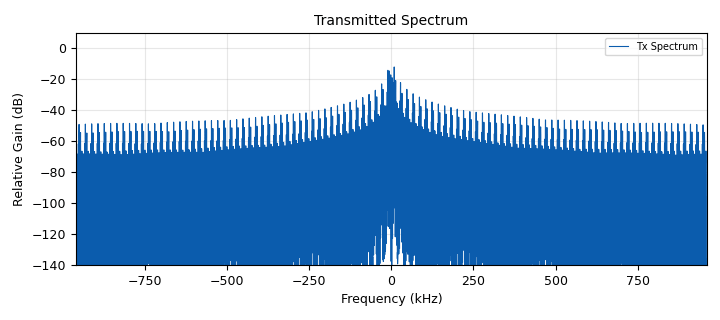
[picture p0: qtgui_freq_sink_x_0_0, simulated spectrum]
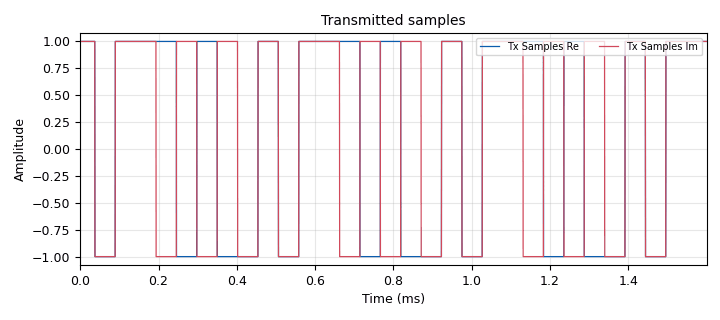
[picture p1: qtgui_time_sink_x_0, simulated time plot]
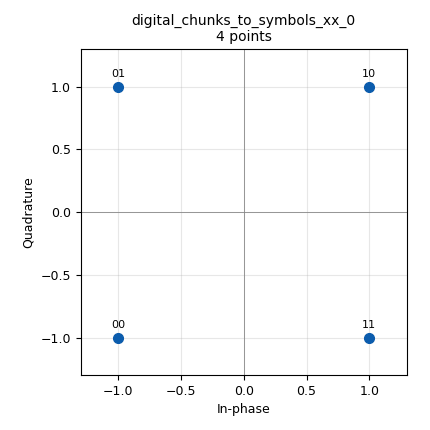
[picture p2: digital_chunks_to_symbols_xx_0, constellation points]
options:
  parameters:
    generate_options: qt_gui
    id: QPSK_raw_loopback_jupiter
    output_language: python
    title: Not titled yet
  states: {}

blocks:
- name: buff_size
  id: variable
  parameters:
    value: int(32768)
  states: {}
- name: gain_control_mode_rx0
  id: variable
  parameters:
    value: '''spi'''
  states: {}
- name: hardwaregain_rx0
  id: variable_qtgui_range
  parameters:
    label: Rx Gain [dBfs]
    start: '0'
    step: '1'
    stop: '34'
    value: '20'
  states: {}
- name: hardwaregain_tx0
  id: variable_qtgui_range
  parameters:
    label: Tx Attenuation [dBfs]
    start: '-41'
    step: '1'
    stop: '0'
    value: '0'
  states: {}
- name: interval_update
  id: variable
  parameters:
    value: int(0)
  states: {}
- name: jupiter_ip
  id: variable_config
  parameters:
    config_file: default
    option: key
    section: main
    type: string
    value: ip:jupiter.local
    writeback: None
  states: {}
- name: lo_tx_offset
  id: variable
  parameters:
    value: int(0)
  states: {}
- name: offset_rx
  id: variable_qtgui_range
  parameters:
    gui_hint: (2,0,1,2)
    start: '-1000000'
    step: '1'
    stop: '1000000'
    value: '-250000'
  states: {}
- name: offset_tx
  id: variable
  parameters:
    value: '250000'
  states: {}
- name: rx_lo_freq
  id: variable
  parameters:
    value: int(2200000000)
  states: {}
- name: samp_rate
  id: variable
  parameters:
    value: '1920000'
  states: {}
- name: sps
  id: variable
  parameters:
    value: '100'
  states: {}
- name: tx_lo_freq
  id: variable
  parameters:
    value: int(2200000000 + lo_tx_offset)
  states: {}
- name: analog_sig_source_x_0
  id: analog_sig_source_x
  parameters:
    amp: '1'
    freq: offset_tx
    offset: '0'
    phase: '0'
    samp_rate: samp_rate
    type: complex
    waveform: analog.GR_COS_WAVE
  states: {}
- name: analog_sig_source_x_0_0
  id: analog_sig_source_x
  parameters:
    amp: '1'
    freq: offset_rx
    offset: '0'
    phase: '0'
    samp_rate: samp_rate
    type: complex
    waveform: analog.GR_COS_WAVE
  states: {}
- name: blocks_complex_to_imag_0_4_0
  id: blocks_complex_to_imag
  parameters: {}
  states: {}
- name: blocks_complex_to_real_0_4_0
  id: blocks_complex_to_real
  parameters: {}
  states: {}
- name: blocks_float_to_complex_0
  id: blocks_float_to_complex
  parameters: {}
  states: {}
- name: blocks_float_to_short_0_0_4_0
  id: blocks_float_to_short
  parameters:
    scale: '32767'
  states: {}
- name: blocks_float_to_short_0_5_0
  id: blocks_float_to_short
  parameters:
    scale: '32767'
  states: {}
- name: blocks_multiply_xx_0
  id: blocks_multiply_xx
  parameters:
    type: complex
  states: {}
- name: blocks_multiply_xx_0_0
  id: blocks_multiply_xx
  parameters:
    type: complex
  states: {}
- name: blocks_repeat_0
  id: blocks_repeat
  parameters:
    interp: sps
    type: complex
  states: {}
- name: blocks_short_to_float_0
  id: blocks_short_to_float
  parameters:
    scale: '32767'
  states: {}
- name: blocks_short_to_float_0_1
  id: blocks_short_to_float
  parameters:
    scale: '32767'
  states: {}
- name: blocks_vector_source_x_0
  id: blocks_vector_source_x
  parameters:
    repeat: 'True'
    type: byte
    vector: (2,2,3,1,3,1,0,2,0)
  states: {}
- name: digital_chunks_to_symbols_xx_0
  id: digital_chunks_to_symbols_xx
  parameters:
    dimension: '1'
    in_type: byte
    out_type: complex
    symbol_table: (-1 -1j,-1+1j, +1+1j,+1-1j)
  states: {}
- name: iio_attr_sink_0
  id: iio_attr_sink
  parameters:
    attr_type: '0'
    channel: voltage0
    device: adrv9002-phy
    output: 'False'
    uri: jupiter_ip
  states: {}
- name: iio_attr_sink_0_0
  id: iio_attr_sink
  parameters:
    attr_type: '0'
    channel: voltage1
    device: adrv9002-phy
    output: 'False'
    uri: jupiter_ip
  states: {}
- name: iio_attr_sink_0_0_0
  id: iio_attr_sink
  parameters:
    attr_type: '0'
    channel: voltage1
    device: adrv9002-phy
    output: 'True'
    uri: jupiter_ip
  states: {}
- name: iio_attr_sink_0_1
  id: iio_attr_sink
  parameters:
    attr_type: '0'
    channel: voltage0
    device: adrv9002-phy
    output: 'True'
    uri: jupiter_ip
  states: {}
- name: iio_attr_sink_0_1_0
  id: iio_attr_sink
  parameters:
    attr_type: '0'
    channel: altvoltage0
    device: adrv9002-phy
    output: 'True'
    uri: jupiter_ip
  states: {}
- name: iio_attr_sink_0_1_0_0
  id: iio_attr_sink
  parameters:
    attr_type: '0'
    channel: altvoltage2
    device: adrv9002-phy
    output: 'True'
    uri: jupiter_ip
  states: {}
- name: iio_attr_sink_0_1_0_1
  id: iio_attr_sink
  parameters:
    attr_type: '0'
    channel: voltage0
    device: adrv9002-phy
    output: 'False'
    uri: jupiter_ip
  states: {}
- name: iio_attr_updater_0
  id: iio_attr_updater
  parameters:
    attr: hardwaregain
    interval: interval_update
    value: str(hardwaregain_rx0)
  states: {}
- name: iio_attr_updater_0_0
  id: iio_attr_updater
  parameters:
    attr: hardwaregain
    interval: interval_update
    value: str(0)
  states: {}
- name: iio_attr_updater_0_0_0
  id: iio_attr_updater
  parameters:
    attr: hardwaregain
    interval: interval_update
    value: str(-40)
  states: {}
- name: iio_attr_updater_0_1
  id: iio_attr_updater
  parameters:
    attr: hardwaregain
    interval: interval_update
    value: str(hardwaregain_tx0)
  states: {}
- name: iio_attr_updater_0_1_0
  id: iio_attr_updater
  parameters:
    attr: frequency
    interval: interval_update
    value: str(rx_lo_freq)
  states: {}
- name: iio_attr_updater_0_1_0_0
  id: iio_attr_updater
  parameters:
    attr: frequency
    interval: interval_update
    value: str(tx_lo_freq)
  states: {}
- name: iio_attr_updater_0_1_0_1
  id: iio_attr_updater
  parameters:
    attr: gain_control_mode
    interval: interval_update
    value: gain_control_mode_rx0
  states: {}
- name: iio_device_sink_0_1
  id: iio_device_sink
  parameters:
    buffer_size: buff_size
    channels: '[''voltage0'',''voltage1'']'
    cyclic: 'False'
    device: axi-adrv9002-tx-lpc
    device_phy: adrv9002-phy
    interpolation: '1'
    params: '[]'
    uri: jupiter_ip
  states: {}
- name: iio_device_source_0
  id: iio_device_source
  parameters:
    buffer_size: buff_size
    channels: '[''voltage0_i'',''voltage0_q'']'
    decimation: '1'
    device: axi-adrv9002-rx-lpc
    device_phy: adrv9002-phy
    params: '[]'
    uri: jupiter_ip
  states: {}
- name: qtgui_const_sink_x_0
  id: qtgui_const_sink_x
  parameters:
    grid: 'True'
    gui_hint: (3,0,1,1)
    label1: Rx Constellation
    name: '"Received constellation"'
    size: '1024'
    type: complex
    update_time: '0.50'
  states: {}
- name: qtgui_freq_sink_x_0
  id: qtgui_freq_sink_x
  parameters:
    bw: samp_rate
    fc: '0'
    fftsize: '8192'
    grid: 'True'
    gui_hint: (1,1,1,1)
    label1: Rx Spectrum Raw
    name: '"Received spectrum"'
    type: complex
  states: {}
- name: qtgui_freq_sink_x_0_0
  id: qtgui_freq_sink_x
  parameters:
    bw: samp_rate
    fc: '0'
    fftsize: '8192'
    grid: 'True'
    gui_hint: (0,1,1,1)
    label1: Tx Spectrum
    name: '"Transmitted Spectrum"'
    type: complex
  states: {}
- name: qtgui_time_sink_x_0
  id: qtgui_time_sink_x
  parameters:
    grid: 'True'
    gui_hint: (0,0,1,1)
    label1: Tx Samples Re
    label2: Tx Samples Im
    name: '"Transmitted samples"'
    size: 1024*3
    srate: samp_rate
    type: complex
  states: {}
- name: qtgui_time_sink_x_1
  id: qtgui_time_sink_x
  parameters:
    grid: 'True'
    gui_hint: (1,0,1,1)
    label1: Rx Samples Raw Re
    label2: Rx Samples Raw Im
    name: '"Received Samples Raw"'
    size: 1024*3
    srate: samp_rate
    type: complex
  states: {}

connections:
- [analog_sig_source_x_0, '0', blocks_multiply_xx_0, '1']
- [analog_sig_source_x_0_0, '0', blocks_multiply_xx_0_0, '1']
- [blocks_complex_to_imag_0_4_0, '0', blocks_float_to_short_0_0_4_0, '0']
- [blocks_complex_to_real_0_4_0, '0', blocks_float_to_short_0_5_0, '0']
- [blocks_float_to_complex_0, '0', blocks_multiply_xx_0_0, '0']
- [blocks_float_to_short_0_0_4_0, '0', iio_device_sink_0_1, '1']
- [blocks_float_to_short_0_5_0, '0', iio_device_sink_0_1, '0']
- [blocks_multiply_xx_0, '0', blocks_complex_to_imag_0_4_0, '0']
- [blocks_multiply_xx_0, '0', blocks_complex_to_real_0_4_0, '0']
- [blocks_multiply_xx_0_0, '0', qtgui_const_sink_x_0, '0']
- [blocks_multiply_xx_0_0, '0', qtgui_freq_sink_x_0, '0']
- [blocks_multiply_xx_0_0, '0', qtgui_time_sink_x_1, '0']
- [blocks_repeat_0, '0', blocks_multiply_xx_0, '0']
- [blocks_repeat_0, '0', qtgui_freq_sink_x_0_0, '0']
- [blocks_repeat_0, '0', qtgui_time_sink_x_0, '0']
- [blocks_short_to_float_0, '0', blocks_float_to_complex_0, '0']
- [blocks_short_to_float_0_1, '0', blocks_float_to_complex_0, '1']
- [blocks_vector_source_x_0, '0', digital_chunks_to_symbols_xx_0, '0']
- [digital_chunks_to_symbols_xx_0, '0', blocks_repeat_0, '0']
- [iio_attr_updater_0, out, iio_attr_sink_0, attr]
- [iio_attr_updater_0_0, out, iio_attr_sink_0_0, attr]
- [iio_attr_updater_0_0_0, out, iio_attr_sink_0_0_0, attr]
- [iio_attr_updater_0_1, out, iio_attr_sink_0_1, attr]
- [iio_attr_updater_0_1_0, out, iio_attr_sink_0_1_0, attr]
- [iio_attr_updater_0_1_0_0, out, iio_attr_sink_0_1_0_0, attr]
- [iio_attr_updater_0_1_0_1, out, iio_attr_sink_0_1_0_1, attr]
- [iio_device_source_0, '0', blocks_short_to_float_0, '0']
- [iio_device_source_0, '1', blocks_short_to_float_0_1, '0']

metadata:
  file_format: 1
  grc_version: v3.10.11.0-1-gee27d6f3
